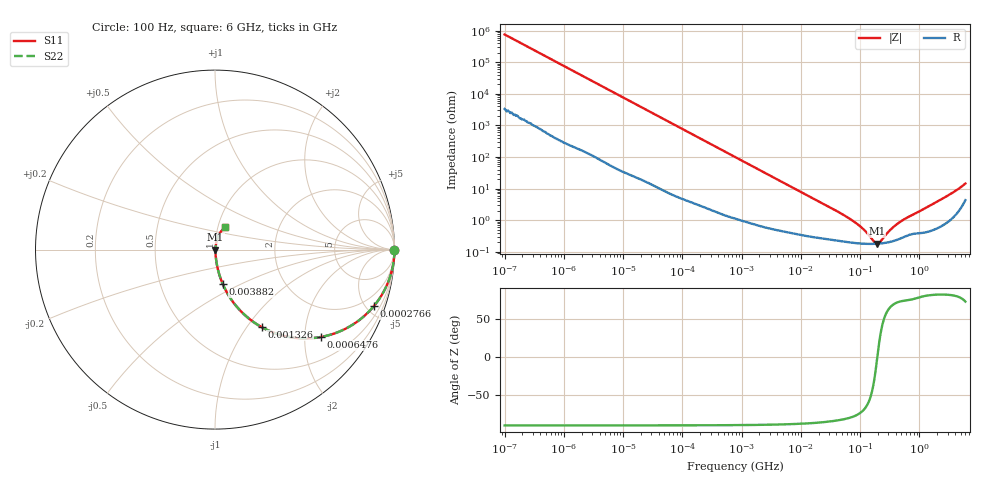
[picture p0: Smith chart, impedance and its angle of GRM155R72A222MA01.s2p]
!Murata Part Number: GRM155R72A222MA01
!These Parameters are Measured in Series Mode Connection
!Data Generated on Mar 30, 2021
!  o--ll--o
!Port1  Port2
!  o------o
!Operation Temp=25[degC], DC Bias Voltage=0[V]
!Freq. Start=100[Hz] Stop=6[GHz] 401[Steps]
# Hz S RI R 50
!Freq.(Hz) S11(Real) S11(Imag) S21(Real) S21(Imag) S12(Real) S12(Imag) S22(Real) S22(Imag)
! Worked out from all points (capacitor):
!   401 points, 100 Hz to 6 GHz, reference 50 ohm
!   read as one part in series: C = 2.1 nF near 109 Hz
!   lowest |Z| = 180 mohm at 190.9 MHz (marker M1)
!   series resonance near 195.7 MHz, so ESL is about 310 pH
!   S11 on the Smith chart (normalised r, x): 100 Hz: open; 276.6 kHz: 1.04, -5.59; 647.6 kHz: 1.02, -2.40; 1.326 MHz: 1.02, -1.18; 3.882 MHz: 1.01, -0.40; 6 GHz: 1.09, +0.28
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100  1 -0.000132  6e-07 0.000132  6e-07 0.000132  1 -0.000132
2008  1 -0.00264  1.81e-05 0.00264  1.81e-05 0.00264  1 -0.00264
40335  0.997 -0.0524  0.00303 0.0524  0.00303 0.0524  0.997 -0.0524
112960  0.9781 -0.1434  0.0219 0.1434  0.0219 0.1434  0.9781 -0.1434
276587  0.8845 -0.3156  0.1155 0.3156  0.1155 0.3156  0.8845 -0.3156
413847  0.7757 -0.4127  0.2243 0.4127  0.2243 0.4127  0.7757 -0.4127
647581  0.5884 -0.487  0.4116 0.487  0.4116 0.487  0.5884 -0.487
774597  0.5012 -0.4944  0.4988 0.4944  0.4988 0.4944  0.5012 -0.4944
1325623  0.2596 -0.4315  0.7404 0.4315  0.7404 0.4315  0.2596 -0.4315
2169299  0.1192 -0.3153  0.8808 0.3153  0.8808 0.3153  0.1192 -0.3153
3882480  0.0435 -0.1924  0.9565 0.1924  0.9565 0.1924  0.0435 -0.1924
1.555665e7  0.0055 -0.0506  0.9945 0.0506  0.9945 0.0506  0.0055 -0.0506
4.35672e7  0.00253 -0.0178  0.9975 0.0178  0.9975 0.0178  0.00253 -0.0178
7.797396e7  0.00199 -0.00893  0.998 0.00893  0.998 0.00893  0.00199 -0.00893
1.115611e8  0.00182 -0.00504  0.9982 0.00504  0.9982 0.00504  0.00182 -0.00504
1.745687e8  0.00178 -0.000979  0.9982 0.000979  0.9982 0.000979  0.00178 -0.000979
1.909225e8  0.00179 -0.000211  0.9982 0.000211  0.9982 0.000211  0.00179 -0.000211
2.183701e8  0.00182 0.000939  0.9982 -0.000939  0.9982 -0.000939  0.00182 0.000939
3.124326e8  0.00204 0.00413  0.998 -0.00413  0.998 -0.00413  0.00204 0.00413
5.346885e8  0.00295 0.00973  0.997 -0.00973  0.997 -0.00973  0.00295 0.00973
2.34314e9  0.00834 0.0444  0.9917 -0.0444  0.9917 -0.0444  0.00834 0.0444
6e9  0.0578 0.1245  0.9422 -0.1245  0.9422 -0.1245  0.0578 0.1245
